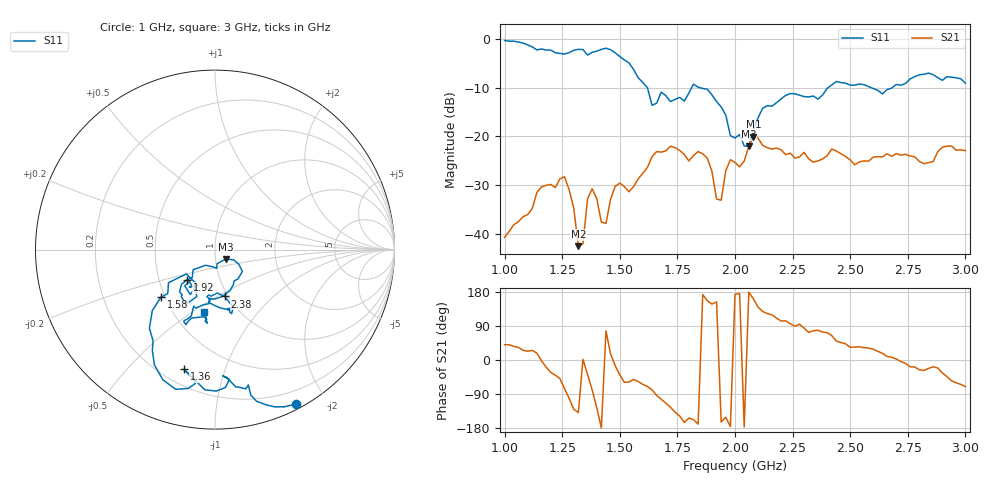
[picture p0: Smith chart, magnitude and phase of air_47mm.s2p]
# HZ S RI R 50
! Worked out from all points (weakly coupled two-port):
!   101 points, 1 GHz to 3 GHz, reference 50 ohm
!   highest |S21| = -20.05 dB at 2.08 GHz (marker M1); lowest = -42.6 dB at 1.32 GHz (marker M2)
!   lowest |S11| = -22.0 dB at 2.06 GHz (marker M3), VSWR 1.17, Z = 55.9 - j5.97 ohm
!   |S11| at or under -10 dB: 1.62 GHz to 1.812 GHz (191.3 MHz wide, 11.1 % of centre); 1.851 GHz to 2.403 GHz (551.8 MHz wide, 25.9 % of centre); 2.593 GHz to 2.681 GHz (87.94 MHz wide, 3.33 % of centre)
!   S12 and S22 are empty: the file has one direction only
!   S11 on the Smith chart (normalised r, x): 1 GHz: 0.05, -1.65; 1.36 GHz: 0.29, -0.73; 1.58 GHz: 0.48, -0.30; 1.92 GHz: 0.70, -0.25; 2.38 GHz: 0.96, -0.54; 3 GHz: 0.70, -0.56
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1e9  0.4491 -0.8624  0.00699 0.00593  0 0  0 0
1.26e9  0.0432 -0.7032  0.00989 -0.0372  0 0  0 0
1.3e9  0.0583 -0.7683  -0.0118 -0.0141  0 0  0 0
1.32e9  0.007 -0.7882  -0.00558 -0.00492  0 0  0 0
1.34e9  -0.0563 -0.7813  0.00785 0.000252  0 0  0 0
1.36e9  -0.1728 -0.6669  0.018 -0.014  0 0  0 0
1.38e9  -0.117 -0.7249  0.00561 -0.0285  0 0  0 0
1.44e9  -0.2191 -0.7784  0.00287 0.0124  0 0  0 0
1.48e9  -0.337 -0.6439  0.0296 -0.00807  0 0  0 0
1.58e9  -0.3014 -0.2654  0.02 -0.0308  0 0  0 0
1.64e9  -0.1596 -0.1356  0.012 -0.0609  0 0  0 0
1.68e9  -0.1379 -0.25  -0.0165 -0.067  0 0  0 0
1.86e9  -0.1827 -0.2527  -0.0658 0.00859  0 0  0 0
1.92e9  -0.1546 -0.1685  -0.0203 0.0102  0 0  0 0
2e9  -0.0138 -0.0954  -0.0538 0.0061  0 0  0 0
2.06e9  0.059 -0.053  -0.0794 0.00129  0 0  0 0
2.08e9  0.1032 -0.0566  -0.0941 0.0323  0 0  0 0
2.14e9  0.1283 -0.1632  -0.0413 0.0647  0 0  0 0
2.34e9  -0.0233 -0.2598  0.0121 0.0531  0 0  0 0
2.38e9  0.0538 -0.2613  0.0163 0.0564  0 0  0 0
2.68e9  -0.0639 -0.3079  0.062 0.00796  0 0  0 0
3e9  -0.0594 -0.3483  0.0241 -0.0674  0 0  0 0
